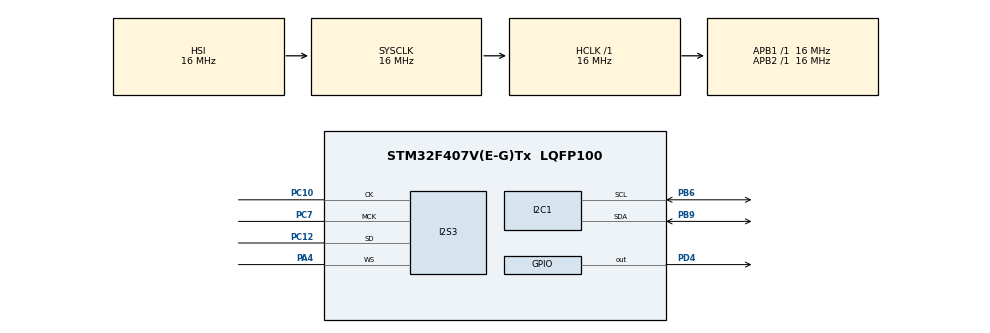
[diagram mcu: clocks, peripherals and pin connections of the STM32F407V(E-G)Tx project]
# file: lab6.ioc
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Dma.Request0=SPI3_TX
Dma.SPI3_TX.0.Direction=DMA_MEMORY_TO_PERIPH
Dma.SPI3_TX.0.FIFOMode=DMA_FIFOMODE_ENABLE
Dma.SPI3_TX.0.FIFOThreshold=DMA_FIFO_THRESHOLD_FULL
Dma.SPI3_TX.0.Instance=DMA1_Stream5
Dma.SPI3_TX.0.MemBurst=DMA_MBURST_SINGLE
Dma.SPI3_TX.0.MemDataAlignment=DMA_MDATAALIGN_HALFWORD
Dma.SPI3_TX.0.MemInc=DMA_MINC_ENABLE
Dma.SPI3_TX.0.Mode=DMA_CIRCULAR
Dma.SPI3_TX.0.PeriphBurst=DMA_PBURST_SINGLE
Dma.SPI3_TX.0.PeriphDataAlignment=DMA_PDATAALIGN_HALFWORD
Dma.SPI3_TX.0.PeriphInc=DMA_PINC_DISABLE
Dma.SPI3_TX.0.Priority=DMA_PRIORITY_LOW
I2S3.AudioFreq=I2S_AUDIOFREQ_48K
I2S3.ErrorAudioFreq=-2.34 %
I2S3.FullDuplexMode=I2S_FULLDUPLEXMODE_DISABLE
I2S3.Instance=SPI$Index
I2S3.RealAudioFreq=46.875 KHz
I2S3.VirtualMode=I2S_MODE_MASTER
Mcu.Family=STM32F4
Mcu.Name=STM32F407V(E-G)Tx
Mcu.Package=LQFP100
NVIC.DMA1_Stream5_IRQn=true\:0\:0\:false\:false\:true\:false\:true\:true
NVIC.PriorityGroup=NVIC_PRIORITYGROUP_4
PA4.Mode=Half_Duplex_Master
PA4.Signal=I2S3_WS
PB6.Mode=I2C
PB6.Signal=I2C1_SCL
PB9.Mode=I2C
PB9.Signal=I2C1_SDA
PC10.Mode=Half_Duplex_Master
PC10.Signal=I2S3_CK
PC12.Mode=Half_Duplex_Master
PC12.Signal=I2S3_SD
PC7.Mode=Master_Clock_Activated
PC7.Signal=I2S3_MCK
PD4.Signal=GPIO_Output
ProjectManager.HeapSize=0x200
ProjectManager.StackSize=0x400
ProjectManager.TargetToolchain=STM32CubeIDE
RCC.AHBFreq_Value=16000000
RCC.APB1Freq_Value=16000000
RCC.APB2Freq_Value=16000000
RCC.CortexFreq_Value=16000000
RCC.HSE_VALUE=25000000
RCC.HSI_VALUE=16000000
RCC.LSE_VALUE=32768
RCC.SYSCLKFreq_VALUE=16000000
RCC.VCOOutputFreq_Value=192000000
board=custom

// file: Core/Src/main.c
/* USER CODE BEGIN Header */
/**
  ******************************************************************************
  * @file           : main.c
  * @brief          : Main program body
  ******************************************************************************
  * @attention
  *
  * Copyright (c) 2025 STMicroelectronics.
  * All rights reserved.
  *
  * This software is licensed under terms that can be found in the LICENSE file
  * in the root directory of this software component.
  * If no LICENSE file comes with this software, it is provided AS-IS.
  *
  ******************************************************************************
  */
/* USER CODE END Header */
#include "main.h"

/* USER CODE BEGIN PTD */
typedef enum{
  C4 = 0,
  C5,
  D5,
  E5,
  F5,
  G5,
  A5,
  B5,
  C6,
  D6,
  E6,
  F6,
  G6,
  A6,
  B6,
  C7,
} soundTone;
/* USER CODE END PTD */

/* USER CODE BEGIN PD */
#define CS43L22_I2C_ADDRESS 0x94
#define I2C_TIMEOUT 10

/* USER CODE END PD */

I2C_HandleTypeDef hi2c1;

I2S_HandleTypeDef hi2s3;
DMA_HandleTypeDef hdma_spi3_tx;

/* USER CODE BEGIN PV */
uint16_t dataI2S[100] = {0};
/* USER CODE END PV */

void SystemClock_Config(void);
static void MX_GPIO_Init(void);
static void MX_DMA_Init(void);
static void MX_I2C1_Init(void);
static void MX_I2S3_Init(void);

/* USER CODE BEGIN 0 */
void CS43L22_Init(void){
  // Enable chip
  HAL_GPIO_WritePin(GPIOD, GPIO_PIN_4, GPIO_PIN_SET);

  //
  // Initialization
  //
  uint8_t TxBuffer[2];

  TxBuffer[0] = 0x0D;
  TxBuffer[1] = 0x01;
  HAL_I2C_Master_Transmit(&hi2c1, CS43L22_I2C_ADDRESS, (uint8_t*) &TxBuffer, 2, I2C_TIMEOUT);

  TxBuffer[0] = 0x00;
  TxBuffer[1] = 0x99;
  HAL_I2C_Master_Transmit(&hi2c1, CS43L22_I2C_ADDRESS, (uint8_t*) &TxBuffer, 2, I2C_TIMEOUT);

  TxBuffer[0] = 0x47;
  TxBuffer[1] = 0x80;
  HAL_I2C_Master_Transmit(&hi2c1, CS43L22_I2C_ADDRESS, (uint8_t*) &TxBuffer, 2, I2C_TIMEOUT);

  TxBuffer[0] = 0x32;
  TxBuffer[1] = 0xFF;
  HAL_I2C_Master_Transmit(&hi2c1, CS43L22_I2C_ADDRESS, (uint8_t*) &TxBuffer, 2, I2C_TIMEOUT);

  TxBuffer[0] = 0x32;
  TxBuffer[1] = 0x7F;
  HAL_I2C_Master_Transmit(&hi2c1, CS43L22_I2C_ADDRESS, (uint8_t*) &TxBuffer, 2, I2C_TIMEOUT);

  TxBuffer[0] = 0x00;
  TxBuffer[1] = 0x00;
  HAL_I2C_Master_Transmit(&hi2c1, CS43L22_I2C_ADDRESS, (uint8_t*) &TxBuffer, 2, I2C_TIMEOUT);

  TxBuffer[0] = 0x04;
  TxBuffer[1] = 0xAF;
  HAL_I2C_Master_Transmit(&hi2c1, CS43L22_I2C_ADDRESS, (uint8_t*) &TxBuffer, 2, I2C_TIMEOUT);

  TxBuffer[0] = 0x0D;
  TxBuffer[1] = 0x70;
  HAL_I2C_Master_Transmit(&hi2c1, CS43L22_I2C_ADDRESS, (uint8_t*) &TxBuffer, 2, I2C_TIMEOUT);

  TxBuffer[0] = 0x05;
  TxBuffer[1] = 0x81;
  HAL_I2C_Master_Transmit(&hi2c1, CS43L22_I2C_ADDRESS, (uint8_t*) &TxBuffer, 2, I2C_TIMEOUT);

  TxBuffer[0] = 0x06;
  TxBuffer[1] = 0x07;
  HAL_I2C_Master_Transmit(&hi2c1, CS43L22_I2C_ADDRESS, (uint8_t*) &TxBuffer, 2, I2C_TIMEOUT);

  TxBuffer[0] = 0x0A;
  TxBuffer[1] = 0x00;
  HAL_I2C_Master_Transmit(&hi2c1, CS43L22_I2C_ADDRESS, (uint8_t*) &TxBuffer, 2, I2C_TIMEOUT);

  TxBuffer[0] = 0x27;
  TxBuffer[1] = 0x00;
  HAL_I2C_Master_Transmit(&hi2c1, CS43L22_I2C_ADDRESS, (uint8_t*) &TxBuffer, 2, I2C_TIMEOUT);

  TxBuffer[0] = 0x1A;
  TxBuffer[1] = 0x0A;
  HAL_I2C_Master_Transmit(&hi2c1, CS43L22_I2C_ADDRESS, (uint8_t*) &TxBuffer, 2, I2C_TIMEOUT);

  TxBuffer[0] = 0x1B;
  TxBuffer[1] = 0x0A;
  HAL_I2C_Master_Transmit(&hi2c1, CS43L22_I2C_ADDRESS, (uint8_t*) &TxBuffer, 2, I2C_TIMEOUT);

  TxBuffer[0] = 0x1F;
  TxBuffer[1] = 0x0F;
  HAL_I2C_Master_Transmit(&hi2c1, CS43L22_I2C_ADDRESS, (uint8_t*) &TxBuffer, 2, I2C_TIMEOUT);

  TxBuffer[0] = 0x02;
  TxBuffer[1] = 0x9E;
  HAL_I2C_Master_Transmit(&hi2c1, CS43L22_I2C_ADDRESS, (uint8_t*) &TxBuffer, 2, I2C_TIMEOUT);
}

void CS43L22_Beep(soundTone pitch, uint32_t duration_ms){
  uint8_t TxBuffer[2];

  // Set volume and off time
  TxBuffer[0] = 0x1D;    // Register address
  TxBuffer[1] = 0x00;    // Value (volume and off time)
  HAL_I2C_Master_Transmit(&hi2c1, CS43L22_I2C_ADDRESS, (uint8_t*) &TxBuffer, 2, I2C_TIMEOUT);

  // Set sound frequency
  TxBuffer[0] = 0x1C;    // Register address
  TxBuffer[1] = 0 | (pitch << 4);

  HAL_I2C_Master_Transmit(&hi2c1, CS43L22_I2C_ADDRESS, (uint8_t*) &TxBuffer, 2, I2C_TIMEOUT);

  // Enable continuous mode (SOUND STARTED)
  TxBuffer[0] = 0x1E;    // Register address
  TxBuffer[1] = 0xC0;    // Value (beep and tone configuration)
  HAL_I2C_Master_Transmit(&hi2c1, CS43L22_I2C_ADDRESS, (uint8_t*) &TxBuffer, 2, I2C_TIMEOUT);

  // Playing...
  HAL_Delay(duration_ms);

  // Disable continuous mode (SOUND STOPED)
  TxBuffer[0] = 0x1E;    // Register address
  TxBuffer[1] = 0x00;    // Value (beep and tone configuration)
  HAL_I2C_Master_Transmit(&hi2c1, CS43L22_I2C_ADDRESS, (uint8_t*) &TxBuffer, 2, I2C_TIMEOUT);
}
/* USER CODE END 0 */

int main(void)
{

  /* MCU Configuration--------------------------------------------------------*/

  /* Reset of all peripherals, Initializes the Flash interface and the Systick. */
  HAL_Init();

  /* Configure the system clock */
  SystemClock_Config();

  /* Initialize all configured peripherals */
  MX_GPIO_Init();
  MX_DMA_Init();
  MX_I2C1_Init();
  MX_I2S3_Init();
  /* USER CODE BEGIN 2 */
  CS43L22_Init();
  HAL_I2S_Transmit_DMA(&hi2s3, dataI2S, 100);

  for(int i = 0; i<16; i++){
    CS43L22_Beep(C4 + i, 200);
  }
  /* USER CODE END 2 */

  /* Infinite loop */
  /* USER CODE BEGIN WHILE */
  while (1)
  {
    CS43L22_Beep(C5, 300);
    CS43L22_Beep(E5, 300);
    CS43L22_Beep(G5, 400);

    CS43L22_Beep(A5, 300);
    CS43L22_Beep(G5, 200);
    CS43L22_Beep(E5, 400);

    CS43L22_Beep(F5, 300);
    CS43L22_Beep(A5, 300);
    CS43L22_Beep(C6, 500);

    CS43L22_Beep(B5, 250);
    CS43L22_Beep(A5, 250);
    CS43L22_Beep(G5, 500);

    CS43L22_Beep(D5, 300);
    CS43L22_Beep(G5, 300);
    CS43L22_Beep(C6, 600);

    /* USER CODE END WHILE */

  }
}

void SystemClock_Config(void)
{
  RCC_OscInitTypeDef RCC_OscInitStruct = {0};
  RCC_ClkInitTypeDef RCC_ClkInitStruct = {0};

  /** Macro to configure the PLL multiplication factor
  */
  __HAL_RCC_PLL_PLLM_CONFIG(16);

  /** Macro to configure the PLL clock source
  */
  __HAL_RCC_PLL_PLLSOURCE_CONFIG(RCC_PLLSOURCE_HSI);

  /** Configure the main internal regulator output voltage
  */
  __HAL_RCC_PWR_CLK_ENABLE();
  __HAL_PWR_VOLTAGESCALING_CONFIG(PWR_REGULATOR_VOLTAGE_SCALE1);

  /** Initializes the RCC Oscillators according to the specified parameters
  * in the RCC_OscInitTypeDef structure.
  */
  RCC_OscInitStruct.OscillatorType = RCC_OSCILLATORTYPE_HSI;
  RCC_OscInitStruct.HSIState = RCC_HSI_ON;
  RCC_OscInitStruct.HSICalibrationValue = RCC_HSICALIBRATION_DEFAULT;
  RCC_OscInitStruct.PLL.PLLState = RCC_PLL_NONE;
  RCC_OscInitStruct.PLL.PLLSource = RCC_PLLSOURCE_HSI;
  if (HAL_RCC_OscConfig(&RCC_OscInitStruct) != HAL_OK)
  {
    Error_Handler();
  }

  /** Initializes the CPU, AHB and APB buses clocks
  */
  RCC_ClkInitStruct.ClockType = RCC_CLOCKTYPE_HCLK|RCC_CLOCKTYPE_SYSCLK
                              |RCC_CLOCKTYPE_PCLK1|RCC_CLOCKTYPE_PCLK2;
  RCC_ClkInitStruct.SYSCLKSource = RCC_SYSCLKSOURCE_HSI;
  RCC_ClkInitStruct.AHBCLKDivider = RCC_SYSCLK_DIV1;
  RCC_ClkInitStruct.APB1CLKDivider = RCC_HCLK_DIV1;
  RCC_ClkInitStruct.APB2CLKDivider = RCC_HCLK_DIV1;

  if (HAL_RCC_ClockConfig(&RCC_ClkInitStruct, FLASH_LATENCY_0) != HAL_OK)
  {
    Error_Handler();
  }
}

static void MX_I2C1_Init(void)
{

  hi2c1.Instance = I2C1;
  hi2c1.Init.ClockSpeed = 100000;
  hi2c1.Init.DutyCycle = I2C_DUTYCYCLE_2;
  hi2c1.Init.OwnAddress1 = 0;
  hi2c1.Init.AddressingMode = I2C_ADDRESSINGMODE_7BIT;
  hi2c1.Init.DualAddressMode = I2C_DUALADDRESS_DISABLE;
  hi2c1.Init.OwnAddress2 = 0;
  hi2c1.Init.GeneralCallMode = I2C_GENERALCALL_DISABLE;
  hi2c1.Init.NoStretchMode = I2C_NOSTRETCH_DISABLE;
  if (HAL_I2C_Init(&hi2c1) != HAL_OK)
  {
    Error_Handler();
  }

}

static void MX_I2S3_Init(void)
{

  hi2s3.Instance = SPI3;
  hi2s3.Init.Mode = I2S_MODE_MASTER_TX;
  hi2s3.Init.Standard = I2S_STANDARD_PHILIPS;
  hi2s3.Init.DataFormat = I2S_DATAFORMAT_16B;
  hi2s3.Init.MCLKOutput = I2S_MCLKOUTPUT_ENABLE;
  hi2s3.Init.AudioFreq = I2S_AUDIOFREQ_48K;
  hi2s3.Init.CPOL = I2S_CPOL_LOW;
  hi2s3.Init.ClockSource = I2S_CLOCK_PLL;
  hi2s3.Init.FullDuplexMode = I2S_FULLDUPLEXMODE_DISABLE;
  if (HAL_I2S_Init(&hi2s3) != HAL_OK)
  {
    Error_Handler();
  }

}

static void MX_DMA_Init(void)
{

  /* DMA controller clock enable */
  __HAL_RCC_DMA1_CLK_ENABLE();

  /* DMA interrupt init */
  /* DMA1_Stream5_IRQn interrupt configuration */
  HAL_NVIC_SetPriority(DMA1_Stream5_IRQn, 0, 0);
  HAL_NVIC_EnableIRQ(DMA1_Stream5_IRQn);

}

static void MX_GPIO_Init(void)
{
  GPIO_InitTypeDef GPIO_InitStruct = {0};

  /* GPIO Ports Clock Enable */
  __HAL_RCC_GPIOA_CLK_ENABLE();
  __HAL_RCC_GPIOC_CLK_ENABLE();
  __HAL_RCC_GPIOD_CLK_ENABLE();
  __HAL_RCC_GPIOB_CLK_ENABLE();

  /*Configure GPIO pin Output Level */
  HAL_GPIO_WritePin(GPIOD, GPIO_PIN_4, GPIO_PIN_RESET);

  /*Configure GPIO pin : PD4 */
  GPIO_InitStruct.Pin = GPIO_PIN_4;
  GPIO_InitStruct.Mode = GPIO_MODE_OUTPUT_PP;
  GPIO_InitStruct.Pull = GPIO_NOPULL;
  GPIO_InitStruct.Speed = GPIO_SPEED_FREQ_LOW;
  HAL_GPIO_Init(GPIOD, &GPIO_InitStruct);

}

void Error_Handler(void)
{
  __disable_irq();
  while (1)
  {
  }
}
